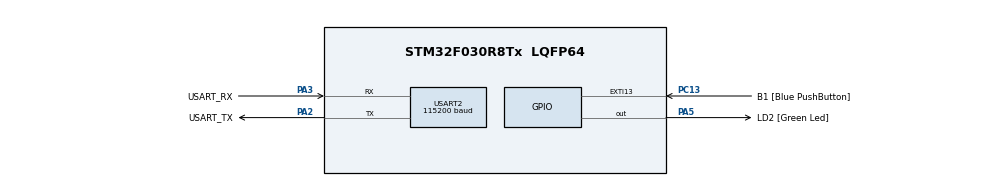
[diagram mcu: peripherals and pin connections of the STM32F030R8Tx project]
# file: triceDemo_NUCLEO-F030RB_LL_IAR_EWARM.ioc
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Mcu.Family=STM32F0
Mcu.Name=STM32F030R8Tx
Mcu.Package=LQFP64
NVIC.USART2_IRQn=true\:0\:0\:false\:false\:true\:true\:true
PA13.GPIO_Label=TMS
PA13.Mode=Serial_Wire
PA13.Signal=SYS_SWDIO
PA14.GPIO_Label=TCK
PA14.Mode=Serial_Wire
PA14.Signal=SYS_SWCLK
PA2.GPIO_Label=USART_TX
PA2.GPIO_Mode=GPIO_MODE_AF_PP
PA2.GPIO_PuPd=GPIO_NOPULL
PA2.GPIO_Speed=GPIO_SPEED_FREQ_LOW
PA2.Mode=Asynchronous
PA2.Signal=USART2_TX
PA3.GPIO_Label=USART_RX
PA3.GPIO_Mode=GPIO_MODE_AF_PP
PA3.GPIO_PuPd=GPIO_NOPULL
PA3.GPIO_Speed=GPIO_SPEED_FREQ_LOW
PA3.Mode=Asynchronous
PA3.Signal=USART2_RX
PA5.GPIO_Label=LD2 [Green Led]
PA5.GPIO_Mode=GPIO_MODE_OUTPUT_PP
PA5.GPIO_PuPd=GPIO_NOPULL
PA5.GPIO_Speed=GPIO_SPEED_FREQ_LOW
PA5.Signal=GPIO_Output
PC13.GPIO_Label=B1 [Blue PushButton]
PC13.GPIO_ModeDefaultEXTI=GPIO_MODE_IT_FALLING
PC13.Signal=GPXTI13
PC14-OSC32_IN.Mode=LSE-External-Oscillator
PC14-OSC32_IN.Signal=RCC_OSC32_IN
PC15-OSC32_OUT.Mode=LSE-External-Oscillator
PC15-OSC32_OUT.Signal=RCC_OSC32_OUT
PF0-OSC_IN.Mode=HSE-External-Clock-Source
PF0-OSC_IN.Signal=RCC_OSC_IN
PF1-OSC_OUT.Signal=RCC_OSC_OUT
ProjectManager.HeapSize=0x200
ProjectManager.StackSize=0x400
ProjectManager.TargetToolchain=EWARM V8.32
RCC.AHBFreq_Value=48000000
RCC.APB1Freq_Value=48000000
RCC.APB1TimFreq_Value=48000000
RCC.HCLKFreq_Value=48000000
RCC.PLLMUL=RCC_PLL_MUL12
RCC.SYSCLKFreq_VALUE=48000000
RCC.SYSCLKSource=RCC_SYSCLKSOURCE_PLLCLK
USART2.BaudRate=115200
USART2.VirtualMode-Asynchronous=VM_ASYNC
board=NUCLEO-F030R8

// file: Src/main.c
/* USER CODE BEGIN Header */
/**
  ******************************************************************************
  * @file           : main.c
  * @brief          : Main program body
  ******************************************************************************
  * @attention
  *
  * <h2><center>&copy; Copyright (c) 2020 STMicroelectronics.
  * All rights reserved.</center></h2>
  *
  * This software component is licensed by ST under BSD 3-Clause license,
  * the "License"; You may not use this file except in compliance with the
  * License. You may obtain a copy of the License at:
  *                        opensource.org/licenses/BSD-3-Clause
  *
  ******************************************************************************
  */
/* USER CODE END Header */

#include "main.h"

/* USER CODE BEGIN Includes */
#include "trice.h"
/* USER CODE END Includes */

void SystemClock_Config(void);
static void MX_GPIO_Init(void);
static void MX_USART2_UART_Init(void);

int main(void)
{
  /* USER CODE BEGIN 1 */
#ifdef ENCRYPT
    InitXteaTable();
#endif
  /* USER CODE END 1 */

  /* MCU Configuration--------------------------------------------------------*/

  /* Reset of all peripherals, Initializes the Flash interface and the Systick. */

  LL_APB1_GRP2_EnableClock(LL_APB1_GRP2_PERIPH_SYSCFG);
  LL_APB1_GRP1_EnableClock(LL_APB1_GRP1_PERIPH_PWR);

  /* System interrupt init*/

  /* Configure the system clock */
  SystemClock_Config();

  /* USER CODE BEGIN SysInit */
    SysTick->CTRL |= SysTick_CTRL_TICKINT_Msk; // enable SysTick interrupt
  /* USER CODE END SysInit */

  /* Initialize all configured peripherals */
  MX_GPIO_Init();
  MX_USART2_UART_Init();
  /* USER CODE BEGIN 2 */
    LL_USART_EnableIT_RXNE(USART2); // enable UART2 interrupt
  /* USER CODE END 2 */

  /* Infinite loop */
  /* USER CODE BEGIN WHILE */
    TRICE16_1( Id(45373), "tim:timing      message, SysTick is %6d\n", SYSTICKVAL16 );
    TRICE0( Id( 9700), "att:triceDemo_NUCLEO-F030RB_LL_IAR-EWARM\n" );
    TRICE16_1( Id(45373), "tim:timing      message, SysTick is %6d\n", SYSTICKVAL16 );
    TRICE16_1( Id(45373), "tim:timing      message, SysTick is %6d\n", SYSTICKVAL16 );
    TRICE16_1( Id(45373), "tim:timing      message, SysTick is %6d\n", SYSTICKVAL16 );
    while (1)
    {
      //////////////////////////////////////////////////
      // demo trices
      //
      static uint32_t ms_1 = 0;
      if( ms >= ms_1 + 3000 ){ // every 3 sec
          void triceCheckSet( void );
          triceCheckSet();
          TRICE32_1( Id(29200), "time:ms = %d\n", ms );
          LL_GPIO_TogglePin(LD2_GPIO_Port, LD2_Pin);
          ms_1 = ms;
      }
      //
      //////////////////////////////////////////////////

      //////////////////////////////////////////////////
      // needed background activity
      //
        #ifdef LL_INTERFACE_NO_INTERRUPTS
        triceServe();
        #endif
      //
      //////////////////////////////////////////////////
    /* USER CODE END WHILE */

  }
}

void SystemClock_Config(void)
{
  LL_FLASH_SetLatency(LL_FLASH_LATENCY_1);

  if(LL_FLASH_GetLatency() != LL_FLASH_LATENCY_1)
  {
  Error_Handler();
  }
  LL_RCC_HSI_Enable();

   /* Wait till HSI is ready */
  while(LL_RCC_HSI_IsReady() != 1)
  {

  }
  LL_RCC_HSI_SetCalibTrimming(16);
  LL_RCC_PLL_ConfigDomain_SYS(LL_RCC_PLLSOURCE_HSI_DIV_2, LL_RCC_PLL_MUL_12);
  LL_RCC_PLL_Enable();

   /* Wait till PLL is ready */
  while(LL_RCC_PLL_IsReady() != 1)
  {

  }
  LL_RCC_SetAHBPrescaler(LL_RCC_SYSCLK_DIV_1);
  LL_RCC_SetAPB1Prescaler(LL_RCC_APB1_DIV_1);
  LL_RCC_SetSysClkSource(LL_RCC_SYS_CLKSOURCE_PLL);

   /* Wait till System clock is ready */
  while(LL_RCC_GetSysClkSource() != LL_RCC_SYS_CLKSOURCE_STATUS_PLL)
  {

  }
  LL_Init1msTick(48000000);
  LL_SetSystemCoreClock(48000000);
}

static void MX_USART2_UART_Init(void)
{

  LL_USART_InitTypeDef USART_InitStruct = {0};

  LL_GPIO_InitTypeDef GPIO_InitStruct = {0};

  /* Peripheral clock enable */
  LL_APB1_GRP1_EnableClock(LL_APB1_GRP1_PERIPH_USART2);

  LL_AHB1_GRP1_EnableClock(LL_AHB1_GRP1_PERIPH_GPIOA);
  /**USART2 GPIO Configuration
  PA2   ------> USART2_TX
  PA3   ------> USART2_RX
  */
  GPIO_InitStruct.Pin = USART_TX_Pin;
  GPIO_InitStruct.Mode = LL_GPIO_MODE_ALTERNATE;
  GPIO_InitStruct.Speed = LL_GPIO_SPEED_FREQ_LOW;
  GPIO_InitStruct.OutputType = LL_GPIO_OUTPUT_PUSHPULL;
  GPIO_InitStruct.Pull = LL_GPIO_PULL_NO;
  GPIO_InitStruct.Alternate = LL_GPIO_AF_1;
  LL_GPIO_Init(USART_TX_GPIO_Port, &GPIO_InitStruct);

  GPIO_InitStruct.Pin = USART_RX_Pin;
  GPIO_InitStruct.Mode = LL_GPIO_MODE_ALTERNATE;
  GPIO_InitStruct.Speed = LL_GPIO_SPEED_FREQ_LOW;
  GPIO_InitStruct.OutputType = LL_GPIO_OUTPUT_PUSHPULL;
  GPIO_InitStruct.Pull = LL_GPIO_PULL_NO;
  GPIO_InitStruct.Alternate = LL_GPIO_AF_1;
  LL_GPIO_Init(USART_RX_GPIO_Port, &GPIO_InitStruct);

  /* USART2 interrupt Init */
  NVIC_SetPriority(USART2_IRQn, 0);
  NVIC_EnableIRQ(USART2_IRQn);

  USART_InitStruct.BaudRate = 115200;
  USART_InitStruct.DataWidth = LL_USART_DATAWIDTH_8B;
  USART_InitStruct.StopBits = LL_USART_STOPBITS_1;
  USART_InitStruct.Parity = LL_USART_PARITY_NONE;
  USART_InitStruct.TransferDirection = LL_USART_DIRECTION_TX_RX;
  USART_InitStruct.HardwareFlowControl = LL_USART_HWCONTROL_NONE;
  USART_InitStruct.OverSampling = LL_USART_OVERSAMPLING_16;
  LL_USART_Init(USART2, &USART_InitStruct);
  LL_USART_DisableIT_CTS(USART2);
  LL_USART_ConfigAsyncMode(USART2);
  LL_USART_Enable(USART2);

}

static void MX_GPIO_Init(void)
{
  LL_EXTI_InitTypeDef EXTI_InitStruct = {0};
  LL_GPIO_InitTypeDef GPIO_InitStruct = {0};

  /* GPIO Ports Clock Enable */
  LL_AHB1_GRP1_EnableClock(LL_AHB1_GRP1_PERIPH_GPIOC);
  LL_AHB1_GRP1_EnableClock(LL_AHB1_GRP1_PERIPH_GPIOF);
  LL_AHB1_GRP1_EnableClock(LL_AHB1_GRP1_PERIPH_GPIOA);

  /**/
  LL_GPIO_ResetOutputPin(LD2_GPIO_Port, LD2_Pin);

  /**/
  LL_SYSCFG_SetEXTISource(LL_SYSCFG_EXTI_PORTC, LL_SYSCFG_EXTI_LINE13);

  /**/
  LL_GPIO_SetPinPull(B1_GPIO_Port, B1_Pin, LL_GPIO_PULL_NO);

  /**/
  LL_GPIO_SetPinMode(B1_GPIO_Port, B1_Pin, LL_GPIO_MODE_INPUT);

  /**/
  EXTI_InitStruct.Line_0_31 = LL_EXTI_LINE_13;
  EXTI_InitStruct.LineCommand = ENABLE;
  EXTI_InitStruct.Mode = LL_EXTI_MODE_IT;
  EXTI_InitStruct.Trigger = LL_EXTI_TRIGGER_FALLING;
  LL_EXTI_Init(&EXTI_InitStruct);

  /**/
  GPIO_InitStruct.Pin = LD2_Pin;
  GPIO_InitStruct.Mode = LL_GPIO_MODE_OUTPUT;
  GPIO_InitStruct.Speed = LL_GPIO_SPEED_FREQ_LOW;
  GPIO_InitStruct.OutputType = LL_GPIO_OUTPUT_PUSHPULL;
  GPIO_InitStruct.Pull = LL_GPIO_PULL_NO;
  LL_GPIO_Init(LD2_GPIO_Port, &GPIO_InitStruct);

}

void Error_Handler(void)
{
}

/************************ (C) COPYRIGHT STMicroelectronics *****END OF FILE****/
